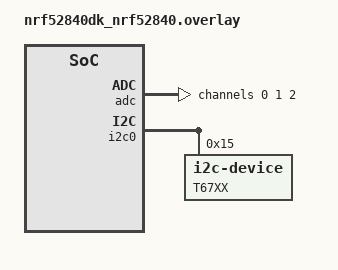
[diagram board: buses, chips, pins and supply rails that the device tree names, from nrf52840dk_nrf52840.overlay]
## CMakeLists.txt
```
# SPDX-License-Identifier: Apache-2.0

cmake_minimum_required(VERSION 3.20.0)

find_package(Zephyr REQUIRED HINTS $ENV{ZEPHYR_BASE})
project(firebase)

target_sources(
  app
  PRIVATE
    src/main.c
    src/config.c 
    src/mqtt.c
)

target_sources_ifdef(CONFIG_ADC app PRIVATE src/adc.c)
target_sources_ifndef(CONFIG_DISABLE_GY61 app PRIVATE src/sensors/gy61.c)

if(CONFIG_ENABLE_T67XX_I2C)
  target_sources(app PRIVATE src/sensors/t67xx_i2c.c)
elseif(CONFIG_ENABLE_T67XX_PWM)
  target_sources(app PRIVATE src/sensors/t67xx.c)
endif()
```

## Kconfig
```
source "Kconfig.zephyr"

config DISABLE_GY61
  bool "Disable gy61 sensor code"
  default n

config ENABLE_T67XX_I2C
  bool "Enable T67XX CO2 sensor using I2C"
  default n
  depends on I2C

config ENABLE_T67XX_PWM
  bool "Enable T67XX CO2 sensor using PWM"
  default n
  depends on !ENABLE_T67XX_I2C && \
    NRFX_GPIOTE && NRFX_TIMER1 && (NRFX_GPIOTE_NUM_OF_EVT_HANDLERS>=2)
```

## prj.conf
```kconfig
# Misc includes
CONFIG_DK_LIBRARY=y
CONFIG_ADC=n
CONFIG_I2C=y
# CONFIG_I2C_LOG_LEVEL_DBG=y
# CONFIG_I2C_DUMP_MESSAGES=y

CONFIG_NRFX_GPIOTE=y
CONFIG_NRFX_GPIOTE_NUM_OF_EVT_HANDLERS=2
CONFIG_NRFX_TIMER1=y

# Enable Bluetooth Low Energy
CONFIG_BT=y
CONFIG_BT_PERIPHERAL=y
CONFIG_BT_CENTRAL=y
CONFIG_BT_HCI=y
CONFIG_BT_CTLR=y

# Enable Networking
CONFIG_NETWORKING=y
CONFIG_BT_SMP=y
CONFIG_BT_L2CAP_DYNAMIC_CHANNEL=y
CONFIG_NET_L2_BT=y
CONFIG_NET_DEFAULT_IF_BLUETOOTH=y
CONFIG_NET_TCP=y
CONFIG_MQTT_LIB=y

CONFIG_NET_PKT_RX_COUNT=10
CONFIG_NET_PKT_TX_COUNT=10
CONFIG_NET_BUF_RX_COUNT=20
CONFIG_NET_BUF_TX_COUNT=20
CONFIG_NET_IF_UNICAST_IPV6_ADDR_COUNT=3
CONFIG_NET_IF_MCAST_IPV6_ADDR_COUNT=4
CONFIG_NET_MAX_CONTEXTS=6

# CONFIG_NET_CONFIG_NEED_IPV6=y
CONFIG_NET_CONFIG_BT_NODE=y
CONFIG_NET_CONFIG_AUTO_INIT=n
CONFIG_NET_CONFIG_SETTINGS=y
CONFIG_NET_CONFIG_MY_IPV6_ADDR="2001:db8::1"

# Enable Zephyr Log API
CONFIG_RESET_ON_FATAL_ERROR=n
CONFIG_LOG=y
CONFIG_LOG_PRINTK=y
CONFIG_CBPRINTF_FP_SUPPORT=y

# LOG levels
# CONFIG_NET_LOG=y
# CONFIG_BT_L2CAP_LOG_LEVEL_DBG=y
# CONFIG_NET_L2_BT_LOG_LEVEL_DBG=y
# CONFIG_NET_CORE_LOG_LEVEL_DBG=y
# CONFIG_NET_IF_LOG_LEVEL_DBG=y
# CONFIG_NET_TC_LOG_LEVEL_DBG=y
# CONFIG_NET_CONTEXT_LOG_LEVEL_DBG=y
# CONFIG_NET_CONN_LOG_LEVEL_DBG=y
# CONFIG_NET_CONFIG_LOG_LEVEL_DBG=y
# CONFIG_NET_TCP_LOG_LEVEL_DBG=y

CONFIG_MAIN_STACK_SIZE=4096

# Custom configs
CONFIG_DISABLE_GY61=y
CONFIG_ENABLE_T67XX_I2C=y
CONFIG_ENABLE_T67XX_PWM=n
```

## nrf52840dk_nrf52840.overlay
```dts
// To get started, press Ctrl+Space to bring up the completion menu and view the available nodes.

// You can also use the buttons in the sidebar to perform actions on nodes.
// Actions currently available include:

// * Enabling / disabling the node
// * Adding the bus to a bus
// * Removing the node
// * Connecting ADC channels

// For more help, browse the DeviceTree documentation at https: //docs.zephyrproject.org/latest/guides/dts/index.html
// You can also visit the nRF DeviceTree extension documentation at https: //nrfconnect.github.io/vscode-nrf-connect/devicetree/nrfdevicetree.html

&adc {
  #address-cells = <1>;
  #size-cells = <0>;

  channel@0 {
    reg = <0>;
    zephyr,gain = "ADC_GAIN_1_6";
    zephyr,reference = "ADC_REF_INTERNAL";
    zephyr,acquisition-time = <ADC_ACQ_TIME_DEFAULT>;
    zephyr,input-positive = <NRF_SAADC_AIN1>; // P0.03
  };

  channel@1 {
    reg = <1>;
    zephyr,gain = "ADC_GAIN_1_6";
    zephyr,reference = "ADC_REF_INTERNAL";
    zephyr,acquisition-time = <ADC_ACQ_TIME_DEFAULT>;
    zephyr,input-positive = <NRF_SAADC_AIN2>; // P0.04
  };

  channel@2 {
    reg = <2>;
    zephyr,gain = "ADC_GAIN_1_6";
    zephyr,reference = "ADC_REF_INTERNAL";
    zephyr,acquisition-time = <ADC_ACQ_TIME_DEFAULT>;
    zephyr,input-positive = <NRF_SAADC_AIN4>; // P0.28
  };
};

&i2c0 {
  t67xx: t67xx@15 {
    compatible = "i2c-device";
    reg = <0x15>; // I2C device address
    label = "T67XX";
  };
};
```

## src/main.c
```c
/*
 * Copyright (c) 2023 Astru43.
 *
 * SPDX-License-Identifier: MIT
 */

#include <dk_buttons_and_leds.h>
#include <nrfx_spim.h>
#include <zephyr/bluetooth/bluetooth.h>
#include <zephyr/bluetooth/conn.h>
#include <zephyr/bluetooth/l2cap.h>
#include <zephyr/bluetooth/uuid.h>
#include <zephyr/kernel.h>
#include <zephyr/logging/log.h>
#include <zephyr/net/mqtt.h>

LOG_MODULE_REGISTER(app, LOG_LEVEL_DBG);

#include "config.h"
#include "mqtt.h"
#include "util.h"

#ifdef CONFIG_ENABLE_T67XX_I2C
#include "sensors/t67xx_i2c.h"
#elif defined CONFIG_ENABLE_T67XX_PWM
#include "sensors/t67xx.h"
#endif

#ifndef CONFIG_DISABLE_GY61
#include "sensors/gy61.h"
#endif

#define ZEPHYR_ADDR "2001:db8::1"
#define SERVER_ADDR "2001:db8::2"
#define SERVER_PORT 1883

volatile bool quit = false;
static const struct bt_data ad[] = {
  BT_DATA_BYTES(BT_DATA_FLAGS, (BT_LE_AD_GENERAL | BT_LE_AD_NO_BREDR)),
  BT_DATA_BYTES(BT_DATA_UUID16_ALL, BT_UUID_16_ENCODE(0x1820)),
};

void button_handler(uint32_t state, uint32_t has_changed);
void bt_ready();
static void bt_connected(struct bt_conn *conn, uint8_t err);
static void bt_disconnected(struct bt_conn *conn, uint8_t reason);

BT_CONN_CB_DEFINE(con_calbacks) = {.connected = bt_connected, .disconnected = bt_disconnected};

void main(void) {
  int32_t err;
  LOG_INF("Hello World! %s", CONFIG_BOARD);

  // if (ERROR(dk_buttons_init(button_handler))) LOG_ERR("Error initializing buttons");

  err = bt_enable(NULL);
  if (ERROR(err)) LOG_ERR("Error enabling BT %d", err);
  bt_ready();

#ifdef CONFIG_ENABLE_T67XX_I2C
  init_t67xx_i2c();
  int status;
  while ((status = t67xx_read_status()) & 0x0c00) {  // Wait for warmup to complete
    LOG_INF("Warming-up...");
    LOG_DBG("Status: %04x", status);
    k_msleep(1000);
  }
  LOG_DBG("Status: %04x", status);

  while (true) {
    uint16_t ppm = t67xx_read_ppm();
    LOG_INF("PPM %d", ppm);
    k_msleep(100);
  }
#elif defined CONFIG_ENABLE_T67XX_PWM
  t67xx_init();
#endif
#ifndef CONFIG_DISABLE_GY61
  gy61_init();
  // int i = 0; // Loop used for calibration sampling
  // while (true) {
  //   if (i++ == 30) return;
  //   const uint16_t out_raw[3] = {0};
  //   const double out[3] = {0};
  //   gy61_read(out_raw, sizeof(out_raw), out, sizeof(out));
  //   k_msleep(500);
  // }
#endif

  LOG_DBG("Waiting connection...");
  k_sleep(K_MSEC(30000));
  LOG_DBG("Continuing");
  init_network(ZEPHYR_ADDR);

  struct mqtt_client *client_ctx = init_mqtt(SERVER_ADDR, SERVER_PORT);

  for (size_t i = 0; i < 11; i++) {
    err = mqtt_connect(client_ctx);
    if (err != 0) {
      LOG_ERR("MQTT ERROR: %d", err);
      while (!quit) {
        k_sleep(K_MSEC(1000));
      }
      return;
    }

    err = zsock_poll(fds, 1, 10000);
    LOG_DBG("POLL ret, %d", err);
    err = mqtt_input(client_ctx);
    if (ERROR(err)) LOG_ERR("Input error, %d", err);
    LOG_DBG("%d", connected);
    k_sleep(K_SECONDS(5));
    if (!connected) {
      err = mqtt_abort(client_ctx);
      LOG_ERR("Connection aborted, %d", err);
    } else break;
  }

  if (connected) {
    uint8_t *message = "Hello world from Zephyr";
    uint8_t *topic = "TEST";
    err = send_message(message, strlen(message), topic);
    if (err) LOG_ERR("SEND ERROR: %d", err);
  }

#ifndef CONFIG_DISABLE_GY61
  uint16_t gy61_buffer[3] = {0};
  double gy61_calibrated[3] = {0};
#endif
  while (!quit && connected) {
    LOG_DBG("WAITING");
    err = zsock_poll(fds, 1, 5000);
    if (err > 0) {
      if (fds[0].revents & ZSOCK_POLLIN) {
        err = mqtt_input(client_ctx);
        LOG_ERR("%d", err);
      }
    } else if (ERROR(err)) LOG_ERR("%d", errno);

#ifndef CONFIG_DISABLE_GY61
    gy61_read(gy61_buffer, sizeof(gy61_buffer), gy61_calibrated, sizeof(gy61_calibrated));
    send_message(gy61_buffer, sizeof(gy61_buffer), "GY61-RAW");
    send_message(gy61_calibrated, sizeof(gy61_calibrated), "GY61-CALIBRATED");
#endif

    err = mqtt_live(client_ctx);
    LOG_ERR("mqtt_live ret: %d", err);
  }

  LOG_INF("QUIT\n");
  err = mqtt_disconnect(client_ctx);
  LOG_DBG("Disconnected, %d", err);
  k_sleep(K_MSEC(1000));
  bt_le_adv_stop();
  bt_disable();
}

void button_handler(uint32_t state, uint32_t has_changed) {
  if (DK_BTN2_MSK == has_changed) {
    quit = true;
  }
}

void bt_ready() {
  uint32_t err = bt_le_adv_start(BT_LE_ADV_CONN_NAME, ad, ARRAY_SIZE(ad), 0, 0);
  if (err == -ENOMEM) LOG_ERR("ENOMEM\n");
  else if (err == -ECONNREFUSED || err == -EIO) LOG_ERR("ECONNREFUSED\n");
  LOG_DBG("%d\n", err);
}

void bt_connected(struct bt_conn *conn, uint8_t err) {
  if (err) {
    LOG_ERR("Connection failed, %d", err);
  } else {
    LOG_INF("Connected");
    // k_sleep(K_SECONDS(1));
    // init_network(ZEPHYR_ADDR);
  }
}

void bt_disconnected(struct bt_conn *conn, uint8_t reason) { LOG_INF("Disconnected, reason %d", reason); }
```

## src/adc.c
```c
#include "adc.h"

#include <zephyr/logging/log.h>
LOG_MODULE_DECLARE(app, LOG_LEVEL_DBG);

const struct device *dev = DEVICE_DT_GET(DT_NODELABEL(adc));

int init_channel(const struct adc_channel_cfg *chan) {
  int err = adc_channel_setup(dev, chan);
  LOG_DBG("%d", err);
  return err;
}

int read(const struct adc_sequence *seq) {
  int err = adc_read(dev, seq);
  LOG_DBG("%d", err);
  return err;
}
```

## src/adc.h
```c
#ifndef E18FF3AC_3019_465D_95D6_48359CCB2FB3
#define E18FF3AC_3019_465D_95D6_48359CCB2FB3

#include <zephyr/drivers/adc.h>

int init_channel(const struct adc_channel_cfg *chan);
int read(const struct adc_sequence *seq);

#endif /* E18FF3AC_3019_465D_95D6_48359CCB2FB3 */
```

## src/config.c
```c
#include "config.h"

#include <zephyr/logging/log.h>
#include <zephyr/net/net_config.h>
#include <zephyr/net/net_if.h>

LOG_MODULE_DECLARE(app, LOG_LEVEL_DBG);

static struct in6_addr my_addr;

/**
 * @brief Initialize network interface for later use
 *
 * @param ip this device's ip address
 */
void init_network(char *ip) {
  int err;

  struct net_if *iface = net_if_get_default();
  if (!iface) {
    LOG_ERR("Didn't get interface");
    return;
  }

  if (!net_if_is_admin_up(iface)) {
    LOG_ERR("IFACE is not admin up");
  }

  // Check if interface is up and set it up otherwise
  if (!net_if_is_up(iface)) {
    LOG_DBG("Setting iface up");
    err = net_if_up(iface);
    if (err < 0) LOG_ERR("Error setting iface to up, %d", err);
  }

  err = net_addr_pton(AF_INET6, ip, &my_addr);  // Convert the string to byte format and copy the address to in6_addr struct
  if (err < 0) LOG_ERR("Error on coppying ip, %d", err);
  struct net_if_addr *iface_addr = net_if_ipv6_addr_add(iface, &my_addr, NET_ADDR_MANUAL, 0);  // Add the address to the interface
  if (!iface_addr) LOG_ERR("Couldn't set ip");

  if (net_if_is_admin_up(iface) && net_if_is_carrier_ok(iface) && !net_if_is_dormant(iface)) {
    LOG_DBG("IF STATUS: OPER UP");
  }

  LOG_DBG("Start net_config");
  err = net_config_init_by_iface(iface, "Zephyr MQTT", NET_CONFIG_NEED_IPV6, 30000);  // Initialize rest of the network stack
  if (err < 0) LOG_ERR("Initialization error, %d", err);
  LOG_DBG("Network setup done");
}
```

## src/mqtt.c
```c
#include "mqtt.h"

#include <zephyr/logging/log.h>
LOG_MODULE_DECLARE(app, LOG_LEVEL_DBG);

// MQTT global variables
struct zsock_pollfd fds[1] = {0};
bool connected = false;

// MQTT
static uint8_t rx_buffer[256];
static uint8_t tx_buffer[256];
static struct mqtt_client client_ctx;
static struct sockaddr_storage broker;

void mqtt_evt_handler(struct mqtt_client *client, const struct mqtt_evt *evt);

/**
 * @brief Initialize mqtt parameters and set broker ip and port
 *
 * @param server_ip broker's ip address
 * @param port broker's port
 * @return Pointer to the client struct or NULL on failure
 */
struct mqtt_client *init_mqtt(const char *server_ip, uint32_t port) {
  uint32_t err;

  uint8_t *client_id = "ZEPHYR";
  mqtt_client_init(&client_ctx);
  client_ctx.broker = &broker;
  client_ctx.evt_cb = mqtt_evt_handler;
  client_ctx.client_id.utf8 = client_id;
  client_ctx.client_id.size = sizeof(client_id) - 1;
  client_ctx.password = NULL;   // No password
  client_ctx.user_name = NULL;  // No username
  client_ctx.protocol_version = MQTT_VERSION_3_1_1;
  client_ctx.transport.type = MQTT_TRANSPORT_NON_SECURE;  // No TLS certificates

  client_ctx.rx_buf = rx_buffer;
  client_ctx.rx_buf_size = sizeof(rx_buffer);
  client_ctx.tx_buf = tx_buffer;
  client_ctx.tx_buf_size = sizeof(tx_buffer);

  struct sockaddr_in6 *broker6 = (struct sockaddr_in6 *)&broker;
  memset(broker6, 0, sizeof(*broker6));  // Zero the struct

  broker6->sin6_family = AF_INET6;
  broker6->sin6_port = htons(port);
  err = net_addr_pton(AF_INET6, server_ip, &broker6->sin6_addr);  // Assign broker's ip address to sockaddr struct
  LOG_DBG("TEST: %d", err);
  // zsock_inet_pton(AF_INET6, SERVER_ADDR, &broker6->sin6_addr);

  // Set pollable events for later use
  fds[0].fd = client_ctx.transport.tcp.sock;
  fds[0].events = ZSOCK_POLLIN;

  if (err == 0) return &client_ctx;
  else return NULL;
}

/**
 * @brief Publish message to specific topic
 *
 * @param msg message data
 * @param msg_len message data length
 * @param topic MQTT topic
 * @return 0 or negative error code (Zephyr errno.h)
 */
int send_message(void *msg, size_t msg_len, char *topic) {
  struct mqtt_publish_param param = {0};
  param.message.payload.data = msg;
  param.message.payload.len = msg_len;
  param.message.topic.qos = MQTT_QOS_0_AT_MOST_ONCE;
  param.message.topic.topic.utf8 = topic;
  param.message.topic.topic.size = strlen(topic);
  return mqtt_publish(&client_ctx, &param);
}

void mqtt_evt_handler(struct mqtt_client *client, const struct mqtt_evt *evt) {
  LOG_ERR("MQTT_CALLBACK");
  switch (evt->type) {
    case MQTT_EVT_CONNACK:
      if (evt->result != 0) {
        LOG_ERR("Error connecting: %d", evt->result);
        break;
      }
      LOG_INF("MQTT connected");
      connected = true;
      break;
    case MQTT_EVT_DISCONNECT:
      LOG_INF("MQTT disconnected");
      connected = false;
      break;
    case MQTT_EVT_PINGRESP:
      LOG_INF("Ping response");
      break;
    default:
      LOG_INF("MQTT default");
      break;
  }
}
```

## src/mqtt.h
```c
#ifndef D2AE867A_AFDC_452A_AB8B_77B11E1601C5
#define D2AE867A_AFDC_452A_AB8B_77B11E1601C5

#include <zephyr/kernel.h>
#include <zephyr/net/mqtt.h>
#include <zephyr/net/socket.h>

extern bool connected;
extern struct zsock_pollfd fds[1];

struct mqtt_client *init_mqtt(const char *ip, uint32_t port);
int send_message(void *msg, size_t msg_len, char *topic);

#endif /* D2AE867A_AFDC_452A_AB8B_77B11E1601C5 */
```

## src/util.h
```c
#ifndef A70FD729_97C7_4F3A_9E1B_269405933B49
#define A70FD729_97C7_4F3A_9E1B_269405933B49

#define ERROR(err) (err < 0)

#endif /* A70FD729_97C7_4F3A_9E1B_269405933B49 */
```
